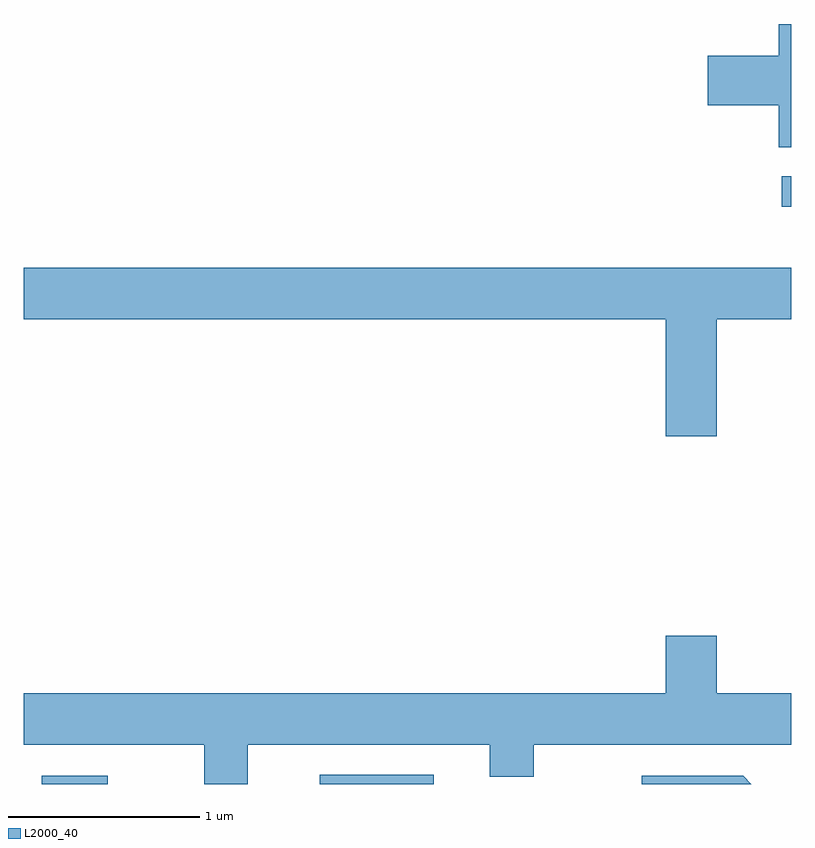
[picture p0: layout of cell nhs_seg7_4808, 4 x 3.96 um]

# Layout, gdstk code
import gdstk
lib = gdstk.Library(unit=1e-6, precision=1e-09)
def R(c, l, rs):  # rectangles x0, y0, x1, y1
    for r in rs: c.add(gdstk.rectangle(r[:2], r[2:], *l))
def P(c, l, *ps):  # polygons
    for p in ps: c.add(gdstk.Polygon(p, *l))
L2000_40 = (2000, 40)

nhs_seg7_4808 = lib.new_cell('nhs_seg7_4808')
R(nhs_seg7_4808, L2000_40, [(331.703,1796.252,332.049,1796.294), (333.153,1796.252,333.749,1796.299), (335.563,1799.261,335.611,1799.419)])
P(nhs_seg7_4808, L2000_40, [(335.611,1800.214),(335.546,1800.214),(335.546,1800.049),(335.176,1800.049),(335.176,1799.791),(335.546,1799.791),(335.546,1799.571),(335.611,1799.571)],
  [(335.224,1798.676),(335.611,1798.676),(335.611,1798.944),(331.611,1798.944),(331.611,1798.676),(334.956,1798.676),(334.956,1798.066),(335.224,1798.066)],
  [(332.779,1796.456),(334.041,1796.456),(334.041,1796.291),(334.269,1796.291),(334.269,1796.456),(335.611,1796.456),(335.611,1796.724),(335.224,1796.724),(335.224,1797.024),(334.956,1797.024),(334.956,1796.724),(331.611,1796.724),(331.611,1796.456),(332.551,1796.456),(332.551,1796.252),(332.779,1796.252)],
  [(335.362,1796.294),(334.833,1796.294),(334.833,1796.252),(335.404,1796.252)])

lib.write_gds('nhs_seg7_4808.gds')
